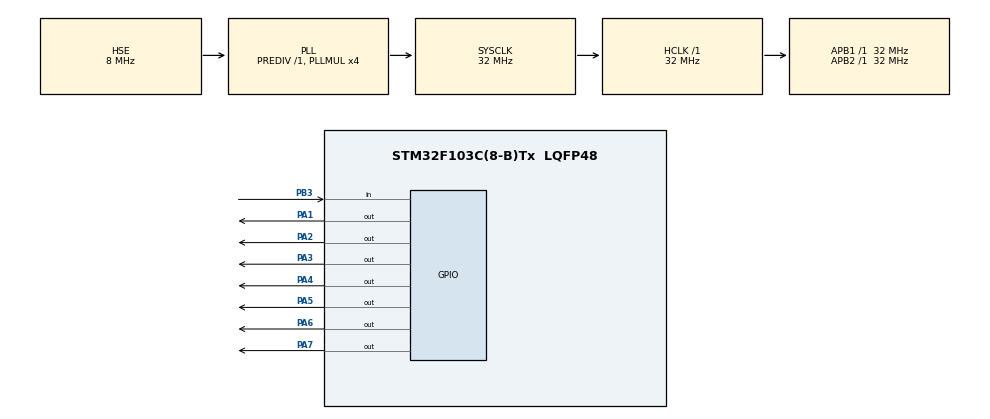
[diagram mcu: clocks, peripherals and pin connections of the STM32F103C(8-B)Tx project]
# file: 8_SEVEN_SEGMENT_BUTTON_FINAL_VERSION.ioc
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Mcu.Family=STM32F1
Mcu.Name=STM32F103C(8-B)Tx
Mcu.Package=LQFP48
NVIC.PriorityGroup=NVIC_PRIORITYGROUP_4
PA1.Signal=GPIO_Output
PA13.Mode=Serial_Wire
PA13.Signal=SYS_JTMS-SWDIO
PA14.Mode=Serial_Wire
PA14.Signal=SYS_JTCK-SWCLK
PA2.Signal=GPIO_Output
PA3.Signal=GPIO_Output
PA4.Signal=GPIO_Output
PA5.Signal=GPIO_Output
PA6.Signal=GPIO_Output
PA7.Signal=GPIO_Output
PB3.Signal=GPIO_Input
PD0-OSC_IN.Mode=HSE-External-Oscillator
PD0-OSC_IN.Signal=RCC_OSC_IN
PD1-OSC_OUT.Mode=HSE-External-Oscillator
PD1-OSC_OUT.Signal=RCC_OSC_OUT
ProjectManager.HeapSize=0x200
ProjectManager.StackSize=0x400
ProjectManager.TargetToolchain=MDK-ARM V5.27
RCC.AHBFreq_Value=32000000
RCC.APB1Freq_Value=32000000
RCC.APB1TimFreq_Value=32000000
RCC.APB2Freq_Value=32000000
RCC.APB2TimFreq_Value=32000000
RCC.HCLKFreq_Value=32000000
RCC.PLLMUL=RCC_PLL_MUL4
RCC.PLLSourceVirtual=RCC_PLLSOURCE_HSE
RCC.SYSCLKFreq_VALUE=32000000
RCC.SYSCLKSource=RCC_SYSCLKSOURCE_PLLCLK
RCC.USBFreq_Value=32000000
board=custom

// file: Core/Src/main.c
/* USER CODE BEGIN Header */
/**
  ******************************************************************************
  * @file           : main.c
  * @brief          : Main program body
  ******************************************************************************
  * @attention
  *
  * <h2><center>&copy; Copyright (c) 2021 STMicroelectronics.
  * All rights reserved.</center></h2>
  *
  * This software component is licensed by ST under BSD 3-Clause license,
  * the "License"; You may not use this file except in compliance with the
  * License. You may obtain a copy of the License at:
  *                        opensource.org/licenses/BSD-3-Clause
  *
  ******************************************************************************
  */
/* USER CODE END Header */
#include "main.h"
#include "gpio.h"

/* USER CODE BEGIN PD */
uint16_t sayac=0;
/* USER CODE END PD */

void SystemClock_Config(void);

int main(void)
{

  /* MCU Configuration--------------------------------------------------------*/

  /* Reset of all peripherals, Initializes the Flash interface and the Systick. */
  HAL_Init();

  /* Configure the system clock */
  SystemClock_Config();

  /* Initialize all configured peripherals */
  MX_GPIO_Init();

  /* Infinite loop */
  while (1)
  {

    /* USER CODE BEGIN 3 */

		if(HAL_GPIO_ReadPin(GPIOB,GPIO_PIN_3)== GPIO_PIN_SET)
		{
			while (HAL_GPIO_ReadPin(GPIOB,GPIO_PIN_3)== GPIO_PIN_SET);
			HAL_Delay(500);
			sayac++;
		}
		switch(sayac)

{
	case 0:
	{HAL_GPIO_WritePin(GPIOA, GPIO_PIN_1, GPIO_PIN_SET);
			HAL_GPIO_WritePin(GPIOA, GPIO_PIN_2, GPIO_PIN_SET);
				HAL_GPIO_WritePin(GPIOA, GPIO_PIN_3, GPIO_PIN_SET);
				HAL_GPIO_WritePin(GPIOA, GPIO_PIN_4, GPIO_PIN_SET);
				HAL_GPIO_WritePin(GPIOA, GPIO_PIN_5, GPIO_PIN_SET);
				HAL_GPIO_WritePin(GPIOA, GPIO_PIN_6, GPIO_PIN_SET);
				HAL_GPIO_WritePin(GPIOA, GPIO_PIN_7, GPIO_PIN_RESET);
		break;
		}
		case 1:
	{HAL_GPIO_WritePin(GPIOA, GPIO_PIN_1, GPIO_PIN_RESET);
			HAL_GPIO_WritePin(GPIOA, GPIO_PIN_2, GPIO_PIN_SET);
				HAL_GPIO_WritePin(GPIOA, GPIO_PIN_3, GPIO_PIN_SET);
				HAL_GPIO_WritePin(GPIOA, GPIO_PIN_4, GPIO_PIN_RESET);
				HAL_GPIO_WritePin(GPIOA, GPIO_PIN_5, GPIO_PIN_RESET);
				HAL_GPIO_WritePin(GPIOA, GPIO_PIN_6, GPIO_PIN_RESET);
				HAL_GPIO_WritePin(GPIOA, GPIO_PIN_7, GPIO_PIN_RESET);

		break;
		}
		case 2:
	{
		HAL_GPIO_WritePin(GPIOA, GPIO_PIN_1, GPIO_PIN_SET);
			HAL_GPIO_WritePin(GPIOA, GPIO_PIN_2, GPIO_PIN_SET);
				HAL_GPIO_WritePin(GPIOA, GPIO_PIN_3, GPIO_PIN_RESET);
				HAL_GPIO_WritePin(GPIOA, GPIO_PIN_4, GPIO_PIN_SET);
				HAL_GPIO_WritePin(GPIOA, GPIO_PIN_5, GPIO_PIN_SET);
				HAL_GPIO_WritePin(GPIOA, GPIO_PIN_6, GPIO_PIN_RESET);
				HAL_GPIO_WritePin(GPIOA, GPIO_PIN_7, GPIO_PIN_SET);

		break;
		}
case 3:
	{
		HAL_GPIO_WritePin(GPIOA, GPIO_PIN_1, GPIO_PIN_SET);
			HAL_GPIO_WritePin(GPIOA, GPIO_PIN_2, GPIO_PIN_SET);
				HAL_GPIO_WritePin(GPIOA, GPIO_PIN_3, GPIO_PIN_SET);
				HAL_GPIO_WritePin(GPIOA, GPIO_PIN_4, GPIO_PIN_SET);
				HAL_GPIO_WritePin(GPIOA, GPIO_PIN_5, GPIO_PIN_RESET);
				HAL_GPIO_WritePin(GPIOA, GPIO_PIN_6, GPIO_PIN_RESET);
				HAL_GPIO_WritePin(GPIOA, GPIO_PIN_7, GPIO_PIN_SET);

		break;
	}
case 4:
	{
		HAL_GPIO_WritePin(GPIOA, GPIO_PIN_1, GPIO_PIN_RESET);
			HAL_GPIO_WritePin(GPIOA, GPIO_PIN_2, GPIO_PIN_SET);
				HAL_GPIO_WritePin(GPIOA, GPIO_PIN_3, GPIO_PIN_SET);
				HAL_GPIO_WritePin(GPIOA, GPIO_PIN_4, GPIO_PIN_RESET);
				HAL_GPIO_WritePin(GPIOA, GPIO_PIN_5, GPIO_PIN_RESET);
				HAL_GPIO_WritePin(GPIOA, GPIO_PIN_6, GPIO_PIN_SET);
				HAL_GPIO_WritePin(GPIOA, GPIO_PIN_7, GPIO_PIN_SET);

		break;
	}
case 5:
{
HAL_GPIO_WritePin(GPIOA, GPIO_PIN_1, GPIO_PIN_SET);
			HAL_GPIO_WritePin(GPIOA, GPIO_PIN_2, GPIO_PIN_RESET);
				HAL_GPIO_WritePin(GPIOA, GPIO_PIN_3, GPIO_PIN_SET);
				HAL_GPIO_WritePin(GPIOA, GPIO_PIN_4, GPIO_PIN_SET);
				HAL_GPIO_WritePin(GPIOA, GPIO_PIN_5, GPIO_PIN_RESET);
				HAL_GPIO_WritePin(GPIOA, GPIO_PIN_6, GPIO_PIN_SET);
				HAL_GPIO_WritePin(GPIOA, GPIO_PIN_7, GPIO_PIN_SET);
		break;
}
case 6:
{
HAL_GPIO_WritePin(GPIOA, GPIO_PIN_1, GPIO_PIN_SET);
			HAL_GPIO_WritePin(GPIOA, GPIO_PIN_2, GPIO_PIN_RESET);
				HAL_GPIO_WritePin(GPIOA, GPIO_PIN_3, GPIO_PIN_SET);
				HAL_GPIO_WritePin(GPIOA, GPIO_PIN_4, GPIO_PIN_SET);
				HAL_GPIO_WritePin(GPIOA, GPIO_PIN_5, GPIO_PIN_SET);
				HAL_GPIO_WritePin(GPIOA, GPIO_PIN_6, GPIO_PIN_SET);
				HAL_GPIO_WritePin(GPIOA, GPIO_PIN_7, GPIO_PIN_SET);
		break;
}
case 7:
{
HAL_GPIO_WritePin(GPIOA, GPIO_PIN_1, GPIO_PIN_SET);
			HAL_GPIO_WritePin(GPIOA, GPIO_PIN_2, GPIO_PIN_SET);
				HAL_GPIO_WritePin(GPIOA, GPIO_PIN_3, GPIO_PIN_SET);
				HAL_GPIO_WritePin(GPIOA, GPIO_PIN_4, GPIO_PIN_RESET);
				HAL_GPIO_WritePin(GPIOA, GPIO_PIN_5, GPIO_PIN_RESET);
				HAL_GPIO_WritePin(GPIOA, GPIO_PIN_6, GPIO_PIN_RESET);
				HAL_GPIO_WritePin(GPIOA, GPIO_PIN_7, GPIO_PIN_RESET);
		break;
}
case 8:
{
HAL_GPIO_WritePin(GPIOA, GPIO_PIN_1, GPIO_PIN_SET);
			HAL_GPIO_WritePin(GPIOA, GPIO_PIN_2, GPIO_PIN_SET);
				HAL_GPIO_WritePin(GPIOA, GPIO_PIN_3, GPIO_PIN_SET);
				HAL_GPIO_WritePin(GPIOA, GPIO_PIN_4, GPIO_PIN_SET);
				HAL_GPIO_WritePin(GPIOA, GPIO_PIN_5, GPIO_PIN_SET);
				HAL_GPIO_WritePin(GPIOA, GPIO_PIN_6, GPIO_PIN_SET);
				HAL_GPIO_WritePin(GPIOA, GPIO_PIN_7, GPIO_PIN_SET);
		break;
}
case 9:
{
HAL_GPIO_WritePin(GPIOA, GPIO_PIN_1, GPIO_PIN_SET);
			HAL_GPIO_WritePin(GPIOA, GPIO_PIN_2, GPIO_PIN_SET);
				HAL_GPIO_WritePin(GPIOA, GPIO_PIN_3, GPIO_PIN_SET);
				HAL_GPIO_WritePin(GPIOA, GPIO_PIN_4, GPIO_PIN_SET);
				HAL_GPIO_WritePin(GPIOA, GPIO_PIN_5, GPIO_PIN_RESET);
				HAL_GPIO_WritePin(GPIOA, GPIO_PIN_6, GPIO_PIN_SET);
				HAL_GPIO_WritePin(GPIOA, GPIO_PIN_7, GPIO_PIN_SET);
		break;
}
default:
{
sayac=0;
	break;

}

} /*switch bitis*/

  }
  /* USER CODE END 3 */
}

void SystemClock_Config(void)
{
  RCC_OscInitTypeDef RCC_OscInitStruct = {0};
  RCC_ClkInitTypeDef RCC_ClkInitStruct = {0};

  /** Initializes the RCC Oscillators according to the specified parameters
  * in the RCC_OscInitTypeDef structure.
  */
  RCC_OscInitStruct.OscillatorType = RCC_OSCILLATORTYPE_HSE;
  RCC_OscInitStruct.HSEState = RCC_HSE_ON;
  RCC_OscInitStruct.HSEPredivValue = RCC_HSE_PREDIV_DIV1;
  RCC_OscInitStruct.HSIState = RCC_HSI_ON;
  RCC_OscInitStruct.PLL.PLLState = RCC_PLL_ON;
  RCC_OscInitStruct.PLL.PLLSource = RCC_PLLSOURCE_HSE;
  RCC_OscInitStruct.PLL.PLLMUL = RCC_PLL_MUL4;
  if (HAL_RCC_OscConfig(&RCC_OscInitStruct) != HAL_OK)
  {
    Error_Handler();
  }
  /** Initializes the CPU, AHB and APB buses clocks
  */
  RCC_ClkInitStruct.ClockType = RCC_CLOCKTYPE_HCLK|RCC_CLOCKTYPE_SYSCLK
                              |RCC_CLOCKTYPE_PCLK1|RCC_CLOCKTYPE_PCLK2;
  RCC_ClkInitStruct.SYSCLKSource = RCC_SYSCLKSOURCE_PLLCLK;
  RCC_ClkInitStruct.AHBCLKDivider = RCC_SYSCLK_DIV1;
  RCC_ClkInitStruct.APB1CLKDivider = RCC_HCLK_DIV1;
  RCC_ClkInitStruct.APB2CLKDivider = RCC_HCLK_DIV1;

  if (HAL_RCC_ClockConfig(&RCC_ClkInitStruct, FLASH_LATENCY_1) != HAL_OK)
  {
    Error_Handler();
  }
}

void Error_Handler(void)
{
  __disable_irq();
  while (1)
  {
  }
}

/************************ (C) COPYRIGHT STMicroelectronics *****END OF FILE****/
